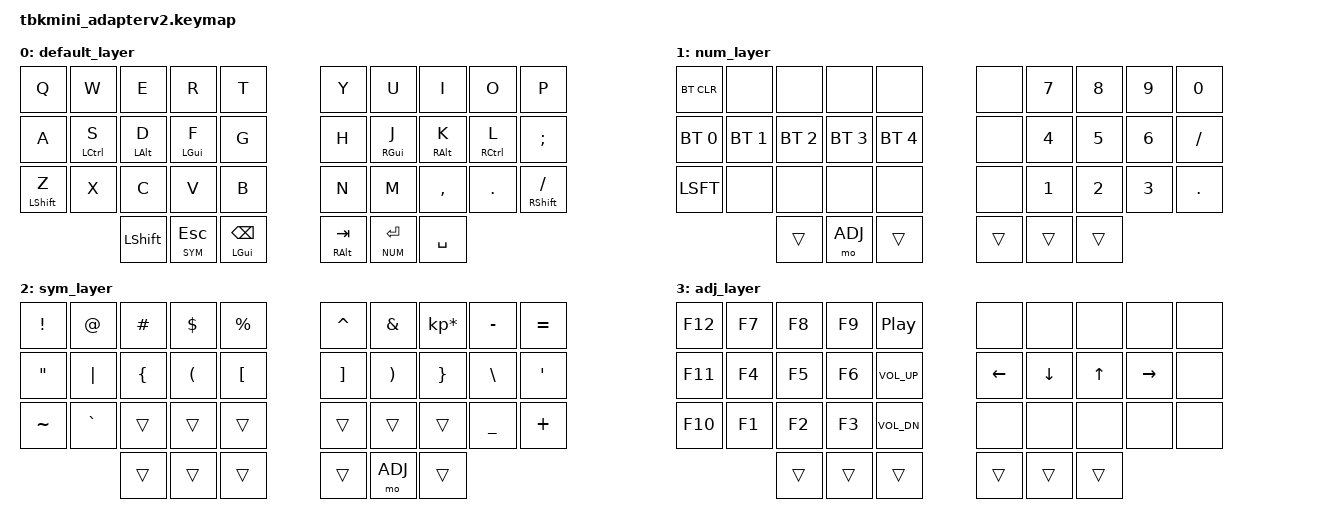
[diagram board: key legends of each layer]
#include <behaviors.dtsi>
#include <dt-bindings/zmk/keys.h>
#include <dt-bindings/zmk/bt.h>
#include "keypos_36keys.h"

#define DEFAULT 0
#define NUM 1
#define SYM 2
#define ADJ 3

#define COMBO_FAST 30
#define COMBO_REJECT 100

&lt {
    tapping-term-ms = <100>;
};

&kscan0 {
    debounce-press-ms = <8>;
    debounce-release-ms = <20>;
};

/*                KEY POSITIONS

  ╭─────────────────────╮ ╭─────────────────────╮
  │ LT4 LT3 LT2 LT1 LT0 │ │ RT0 RT1 RT2 RT3 RT4 │
  │ LM4 LM3 LM2 LM1 LM0 │ │ RM0 RM1 RM2 RM3 RM4 │
  │ LB4 LB3 LB2 LB1 LB0 │ │ RB0 RB1 RB2 RB3 RB4 │
  ╰───────╮ LH2 LH1 LH0 │ │ RH0 RH1 RH2 ╭───────╯
          ╰─────────────╯ ╰─────────────╯ */

/ {
        chosen {
            zmk,matrix_transform = &skeletyl_transform;
        };

        behaviors {
            hm: hm {
                compatible = "zmk,behavior-hold-tap";
                label = "HOMEROW_MODS";
                #binding-cells = <2>;
                tapping-term-ms = <200>;
                quick-tap-ms = <200>;
                flavor = "tap-preferred";
                bindings = <&kp>, <&kp>;
            };

            tm: tm {
                compatible = "zmk,behavior-hold-tap";
                label = "THUMB_MODS";
                #binding-cells = <2>;
                tapping-term-ms = <100>;
                quick-tap-ms = <200>;
                flavor = "hold-preferred";
                bindings = <&kp>, <&kp>;
            };
        };

        combos {
            compatible = "zmk,combos";

            // left hand combos
            combo_esc {
                timeout-ms = <COMBO_FAST>;
                key-positions = <LB3 LB1>;
                bindings = <&kp ESC>;
                require-prior-idle-ms = <COMBO_REJECT>;
            };
            combo_ret {
                timeout-ms = <COMBO_FAST>;
                key-positions = <LB3 LB2>;
                bindings = <&kp RET>;
                require-prior-idle-ms = <COMBO_REJECT>;
            };
            combo_tab {
                timeout-ms = <COMBO_FAST>;
                key-positions = <LB2 LB1>;
                bindings = <&kp TAB>;
                require-prior-idle-ms = <COMBO_REJECT>;
            };

            // right hand combos
            combo_bspc {
                timeout-ms = <COMBO_FAST>;
                key-positions = <RB1 RB2>;
                bindings = <&kp BSPC>;
                require-prior-idle-ms = <COMBO_REJECT>;
            };
            combo_del {
                timeout-ms = <COMBO_FAST>;
                key-positions = <RB2 RB3>;
                bindings = <&kp DEL>;
                require-prior-idle-ms = <COMBO_REJECT>;
            };
        };


        keymap {
                compatible = "zmk,keymap";

                default_layer {
// -----------------------------------------------------------------------------------------
// |  Q  |  W  |  E  |  R  |  T   |   |  Y  |  U   |  I  |  O  |  P  |
// |  A  |  S  |  D  |  F  |  G   |   |  H  |  J   |  K  |  L  |  ;  |
// |  Z  |  X  |  C  |  V  |  B   |   |  N  |  M   |  ,  |  .  |  /  |
//             | GUI | SYM | SHFT |   | SPC | NUM  | ALT |
                        bindings = <
   &kp Q       &kp W       &kp E         &kp R       &kp T         &kp Y        &kp U       &kp I        &kp O       &kp P
   &kp A       &hm LCTRL S &hm LALT D    &hm LGUI F  &kp G         &kp H        &hm RGUI J  &hm RALT K   &hm RCTRL L &kp SEMI
   &hm LSHFT Z &kp X       &kp C         &kp V       &kp B         &kp N        &kp M       &kp COMMA    &kp DOT     &hm RSHFT FSLH
                           &kp LSHFT     &lt SYM ESC &tm LGUI BSPC &tm RALT TAB &lt NUM RET &kp SPACE
                        >;
                };
                num_layer {
// -----------------------------------------------------------------------------------------
// |BTCLR|     |     |     |     |   |  7  |  8  |  9  |  0  |
// | BT1 | BT2 | BT3 | BT4 | BT5 |   |  4  |  5  |  6  |  /  |
// | SFT |     |     |     |     |   |  1  |  2  |  3  |  .  |
//             |     | ADJ |     |   |     |     |
                        bindings = <
   &bt BT_CLR   &none        &none        &none        &none             &none  &kp N7 &kp N8 &kp N9 &kp N0
   &bt BT_SEL 0 &bt BT_SEL 1 &bt BT_SEL 2 &bt BT_SEL 3 &bt BT_SEL 4      &none  &kp N4 &kp N5 &kp N6 &kp FSLH
   &kp LSFT     &none        &none        &none        &none             &none  &kp N1 &kp N2 &kp N3 &kp DOT
                             &trans       &mo ADJ      &trans            &trans &trans &trans
                        >;
                };

                sym_layer {
// -----------------------------------------------------------------------------------------
// |  !  |  @  |  #  |  $  |  %  |   |  ^  |  &  |  *  |  -  |  =  |
// |  "  |  |  |  {  |  (  |  [  |   |  ]  |  )  |  }  |  \  |  '  |
// |  ~  |  `  |     |     |     |   |     |     |     |  _  |  +  |
//             |     |     |     |   |     | ADJ |     |
                        bindings = <
   &kp EXCL  &kp AT    &kp HASH &kp DLLR &kp PRCNT    &kp CARET &kp AMPS &kp KP_MULTIPLY &kp MINUS &kp EQUAL
   &kp DQT   &kp PIPE  &kp LBRC &kp LPAR &kp LBKT     &kp RBKT  &kp RPAR &kp RBRC        &kp BSLH  &kp SQT
   &kp TILDE &kp GRAVE &trans   &trans   &trans       &trans    &trans   &trans          &kp UNDER &kp PLUS
                       &trans   &trans   &trans       &trans    &mo ADJ  &trans
                        >;
                };

                adj_layer {
                        bindings = <
   &kp F12 &kp F7 &kp F8 &kp F9 &kp C_PP          &none    &none    &none  &none     &none
   &kp F11 &kp F4 &kp F5 &kp F6 &kp C_VOL_UP      &kp LEFT &kp DOWN &kp UP &kp RIGHT &none
   &kp F10 &kp F1 &kp F2 &kp F3 &kp C_VOL_DN      &none    &none    &none  &none     &none
                  &trans &trans &trans            &trans   &trans   &trans
                        >;
                };
        };
};
